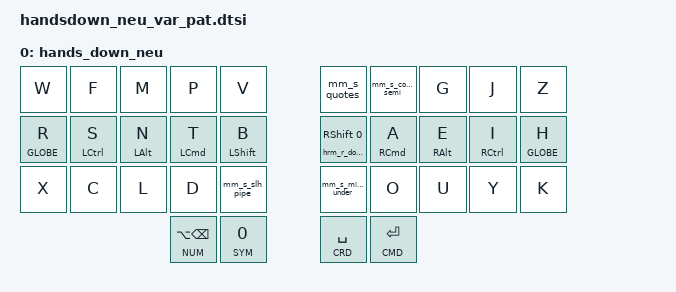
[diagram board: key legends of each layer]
/*
 * Copyright (c) 2020 The ZMK Contributors
 *
 * SPDX-License-Identifier: MIT
 */

/* = ⇧ =   34 Keys - Hands Down neu - variante Pat
    ╭──────────────────╮ ╭───────────────╮
    │ W  F  M  P  V    │ │ /  .  J  '  Z │
    │ R  S  N  T  B    │ │ ,  E  A  I  H │
    │ X  C  L  D  G    │ │ -  U  O  Y  K │
    ╰────────╮ ⇧ CapsW │ │⌫ -L1- ╭──────╯
             ╰─────────╯ ╰────────╯         */
/*     Chorded Letters - 34 Keys - Hands Down neu - variante Pat
    ╭──────────────╮ ╭─────────────────╮
    │ Qu           │ │                 │
    │ / \          │ │                 │
    │ W  F  _  _  _│ │_  _     _  _  _ │
    │ _  _  _  _  _│ │_  E -Ä- A  _  _ │
    │              │ │   │ \           │
    │              │ │   Ü  Ö          │
    │              │ │   │    \        │
    │ _  _  _  _  _│ │_  U     O  _  _ │
    ╰────────╮ _  _│ │_  _ ╭───────────╯
             ╰─────╯ ╰─────╯         
*/   
 
// LEFT SIDE
// TOP 
#define P_W LTP
#define P_F LTR
#define P_M LTM
#define P_P LTII
#define P_V LTIO
// MIDDLE
#define P_R LMP
#define P_S LMR
#define P_N LMM
#define P_T LMII
#define P_B LMIO
// BOTTOM
#define P_X LBP
#define P_C LBR
#define P_L LBM
#define P_D LBII
#define P_G LBIO
// THUMB
#define P_BACKSPACE LTI
#define P_REP LTO

// RIGHT SIDE
// TOP 
#define P_SLASH RTIO
#define P_COMMA RTII
#define P_J RTM
#define P_GRAVE RTR
#define P_Z RTP
// MIDDLE
#define P_DOT RMIO
#define P_A RMII
#define P_E RMM
#define P_I RMR
#define P_H RMP
// BOTTOM
#define P_MINUS RBIO
#define P_O RBII
#define P_U RBM
#define P_Y RBR
#define P_K RBP
// THUMB
#define P_SPACE RTO
#define P_RETURN RTI

&caps_word {
   continue-list = <UNDERSCORE MINUS BACKSPACE>;
};
/*           34 Keys
 ╭──────────────╮ ╭──────────────╮
 │ 0  1  2  3  4│ │ 5  6  7  8  9│
 │10 11 12 13 14│ │15 16 17 18 19│
 │20 21 22 23 24│ │25 26 27 28 29│
 ╰────────╮30 31│ │32 33╭────────╯
          ╰─────╯ ╰─────╯         */
/*    34 Keys - Hands Down neu
 https://sites.google.com/alanreiser.com/handsdown/home/hands-down-neu?authuser=0
 ╭───────────────╮ ╭─────────────────╮
 │ w  f  m  p  v │ │ /  .  q  "  '  z│
 │ r  s  n  t  b │ │ ,  a  e  i  h  j│
 │ x  c  l  d  g │ │ -  u  o  y  k   │     
 ╰─────────╮,; .:│ │ ␣  ⏎╭───────────╯
           ╰─────╯ ╰─────╯         
*/
/ {
/*     34 Keys - Hands Down neu - variante Pat
 ╭────────────────╮ ╭───────────────╮
 │ w  f  m  p  v  │ │ '  .  g  j  z │
 │ r  s  n  t  b  │ │ ,  a  e  i  h │
 │ x  c  l  d  /  │ │ -  u  o  y  k │
 ╰────────╮ REP ␣ │ │ ⌫  ⏎   ╭──────╯
          ╰───────╯ ╰────────╯         
*/
/* hold  =   34 Keys - Hands Down neu - variante Pat
    ╭──────────────────╮ ╭────────────────╮
    │  -  -  -  -  -   │ │ -  -  -  -  -  │
    │ fn  ⌃  ⌥  ⌘  ⇧   │ │ ⇧  ⌘  ⌥  ⌃  fn │
    │  -  -  -  -  -   │ │ -  -  -  -  -  │
    ╰──────╮ NUM  SYM  │ │ CRD CMD ╭──────╯
           ╰───────────╯ ╰─────────╯         */
/*     Chorded Letters - 34 Keys - Hands Down neu - variante Pat
    ╭──────────────╮ ╭─────────────────╮
    │ Qu           │ │                 │
    │ / \          │ │                 │
    │ W  F  _  _  _│ │_  _     _  _  _ │
    │ _  _  _  _  _│ │_  A -Ä- E  _  _ │
    │              │ │        /│       │
    │              │ │      Ü  Ö       │
    │              │ │     /   │       │
    │ _  _  _  _  _│ │_  U     O  _  _ │
    ╰────────╮ _  _│ │_  _ ╭───────────╯
             ╰─────╯ ╰─────╯         
*/   
      // combos {
      //    compatible = "zmk,combos";
         // COMBO(tab, &kp TAB, TLR TLM)
         // COMBO(shift, &skq LSHFT, TRM TRR)
         // COMBO(ctrl, &sk LCTL, BLR BLM)
         // COMBO(backspace, &kp BSPC, BRM BRR)
         // COMBO(COM, &sk LCOM, LTI LTO)
         // COMBO(opt, &sk LALT, RTO RTI)
         //COMBO(z, &kp Z, MLP MLM)
      // };
      keymap {
         compatible = "zmk,keymap";
         hands_down_neu {
            bindings = <
//╭──────────────┬───────────────┬──────────────┬──────────────┬───────────────╮╭─────────────────────────┬─────────────────┬──────────────┬───────────────┬───────────────╮
   &kp W           &kp F           &kp M          &kp P          &kp V           &mm_s_quotes              &mm_s_comma_semi  &kp G          &kp J           &kp Z
//├──────────────┼───────────────┼──────────────┼──────────────┼───────────────┤├─────────────────────────┼─────────────────┼──────────────┼───────────────┼───────────────┤
   &hrm_l GLOBE R  &hrm_l LCTRL S  &hrm_l LALT N  &hrm_l LCMD T  &hrm_l LSHFT B  &hrm_r_dot_colon RSHFT 0  &hrm_r RCMD A      &hrm_r RALT E  &hrm_r RCTRL I  &hrm_r GLOBE H
// alternative HRM with RTI pressed
//   &mm_hrm_R  &mm_hrm_S  &mm_hrm_N  &mm_hrm_T  &kp B  &mm_s_comma_semi   &mm_hrm_A          &mm_hrm_E  &mm_hrm_I       &mm_hrm_H
//├──────────────┼───────────────┼──────────────┼──────────────┼───────────────┤├─────────────────────────┼─────────────────┼──────────────┼───────────────┼───────────────┤
   &kp X           &kp C           &kp L          &kp D          &mm_s_slh_pipe  &mm_s_minus_under         &kp O             &kp U          &kp Y           &kp K
//╰──────────────┴───────────────┴─────╮                                       ││                                                ╭────────┴───────────────┴───────────────╯
                                        &lt NUM LA(BACKSPACE)  &ht_mo_rep SYM 0  &lt CRD SPACE              &ht_mo_alp CMD RETURN
                                                // alternative HRM with RTI pressed
                                               // &mm_hrm_SYM_return  &mm_hrm_NUM_bsp  &mt RSHIFT SPACE   &ht_mo_rep COM 0
//                                     ╰────────────────┴──────────────────────╯╰─────────────────────────┴──────────────────────╯
            >;
         };
      };
   };
   
   // thumb keys
   HOLD_TAP_BEHAVIORS(mo_rep, &mo, &key_repeat)

   HOLD_TAP_BEHAVIORS(mo_alp, &mo_alp, &kp)

   /* alternative: RTI as mod key to activate HRMs
   MOD_MORPH_HRM(R, &kp R, &kp LSHIFT)
   MOD_MORPH_HRM(S, &kp S, &kp LCTRL)
   MOD_MORPH_HRM(N, &kp N, &kp LALT)
   MOD_MORPH_HRM(T, &kp T, &kp LCMD)
   MOD_MORPH_HRM(B, &kp B, &kp GLOBE)
   
   MOD_MORPH_HRM(A, &kp A, &kp RCMD)
   MOD_MORPH_HRM(E, &kp E, &kp RALT)
   MOD_MORPH_HRM(I, &kp I, &kp RCTRL)
   MOD_MORPH_HRM(H, &kp H, &kp LSHIFT)
*/

   // Combo keys
   CHORD_SHIFT(qu, Q, &kp U, LTP LTR, ALP)

   COMBO_LONG(capsword, &caps_word, LMIO RMIO)
   COMBO_LAYER(CapsW_left_shift, &caps_word, LTO LMIO, ALP)
   COMBO_LAYER(CapsW_right_shift, &caps_word, LTO RMIO, ALP)
//  done on the chord layer instead, so BSPC can be hold instead of pressed together
//   COMBO_LAYER(DelW, &kp LA(BACKSPACE), LTO RTO, ALP SYM NUM CMD)

   // Sentence ending auto capitalize
   MACRO(dot, &kp DOT &kp SPACE &skl LSHIFT)
   MOD_MORPH(dot, &macro_dot, &kp DOT, MOD_LALT|MOD_RALT)

   MACRO(comma, &kp COMMA &kp SPACE)
   MOD_MORPH(comma, &macro_comma, &kp COMMA, MOD_LALT|MOD_RALT)

   // shift
   MOD_MORPH_SHIFT(slh_pipe, &kp SLASH, &kp PIPE)
   MOD_MORPH_SHIFT(comma_semi, &mm_comma, &kp SEMICOLON)
   MOD_MORPH_SHIFT(quotes, &kp SQT, &kp DQT)
   MOD_MORPH_SHIFT(dot_colon, &mm_dot, &kp COLON)
   HOME_ROW_MOD_BEHAVIOR(r_dot_colon, &mm_s_dot_colon, LEFT_SIDE_KEYS)

   MOD_MORPH_SHIFT(minus_under, &kp MINUS, &kp UNDERSCORE)

   // Umlaute
   MACRO(ae, &kp LA(U) &kp A)
   MACRO(shift_ae, &kp LA(U) &kp LS(A))
   MOD_MORPH_SHIFT(ae, &macro_ae, &macro_shift_ae)
   CHORD_LAYER(ae, &mm_s_ae, P_A P_E, ALP)

   MACRO(oe, &kp LA(U) &kp O)
   MACRO(shift_oe, &kp LA(U) &kp LS(O))
   MOD_MORPH_SHIFT(oe, &macro_oe, &macro_shift_oe)
   CHORD_LAYER(oe, &mm_s_oe, P_O P_E, ALP)

   MACRO(ue, &kp LA(U) &kp U)
   MACRO(shift_ue, &kp LA(U) &kp LS(U))
   MOD_MORPH_SHIFT(ue, &macro_ue, &macro_shift_ue)
   CHORD_LAYER(ue, &mm_s_ue, P_U P_E, ALP)

   //ß
   CHORD_LAYER(ss, &kp LA(S), P_S P_E, ALP)
   
   //sch - because 's' and 'c' is on the same finger (sfb)
   CHORD_SHIFT(sch, S, &kp C &kp H, P_S P_H, ALP)
